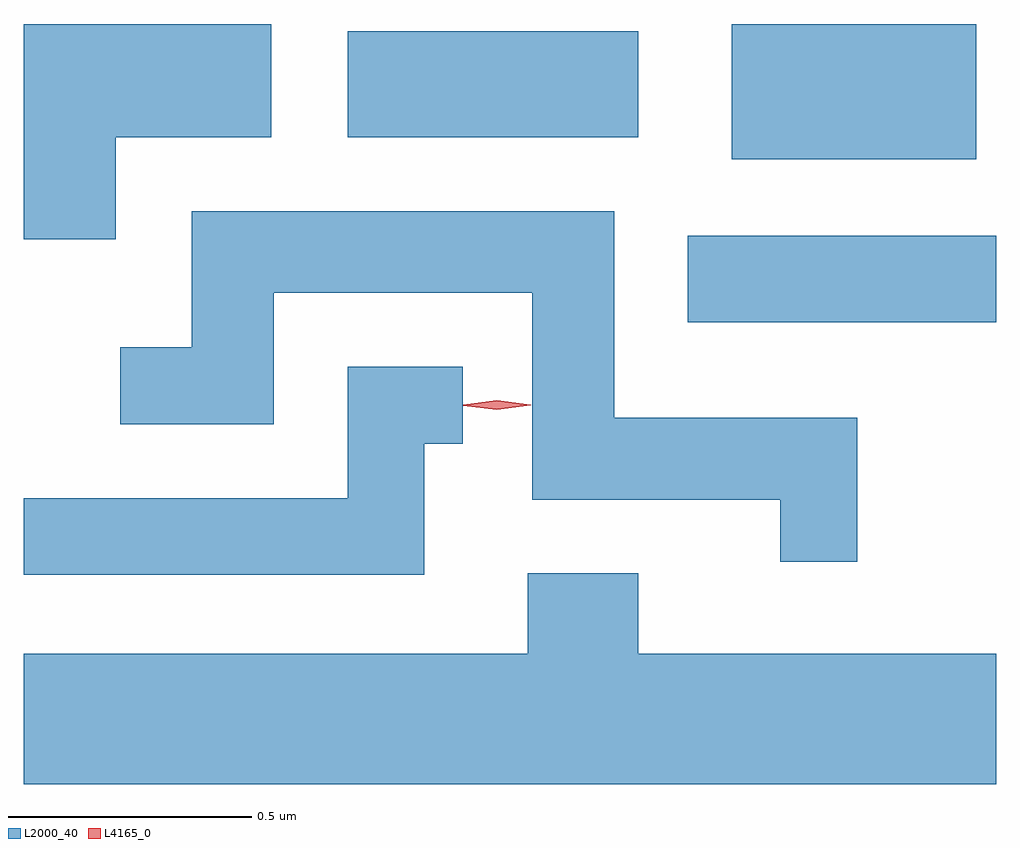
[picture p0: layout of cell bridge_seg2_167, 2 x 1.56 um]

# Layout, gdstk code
import gdstk
lib = gdstk.Library(unit=1e-6, precision=1e-09)
def R(c, l, rs):  # rectangles x0, y0, x1, y1
    for r in rs: c.add(gdstk.rectangle(r[:2], r[2:], *l))
def P(c, l, *ps):  # polygons
    for p in ps: c.add(gdstk.Polygon(p, *l))
L2000_40 = (2000, 40)
L4165_0 = (4165, 0)

bridge_seg2_167 = lib.new_cell('bridge_seg2_167')
R(bridge_seg2_167, L2000_40, [(685.541,1084.786,686.175,1084.964), (685.631,1085.121,686.134,1085.399), (684.841,1085.166,685.439,1085.384)])
P(bridge_seg2_167, L2000_40, [(684.364,1085.166),(684.684,1085.166),(684.684,1085.399),(684.175,1085.399),(684.175,1084.956),(684.364,1084.956)],
  [(685.889,1084.589),(685.389,1084.589),(685.389,1085.014),(684.521,1085.014),(684.521,1084.734),(684.373,1084.734),(684.373,1084.576),(684.689,1084.576),(684.689,1084.846),(685.221,1084.846),(685.221,1084.421),(685.731,1084.421),(685.731,1084.293),(685.889,1084.293)],
  [(684.999,1084.536),(685.078,1084.536),(685.078,1084.694),(684.841,1084.694),(684.841,1084.424),(684.175,1084.424),(684.175,1084.266),(684.999,1084.266)],
  [(686.175,1084.104),(685.439,1084.104),(685.439,1084.269),(685.211,1084.269),(685.211,1084.104),(684.175,1084.104),(684.175,1083.836),(686.175,1083.836)])
P(bridge_seg2_167, L4165_0, [(685.148,1084.606),(685.079,1084.614),(685.079,1084.615),(685.079,1084.616),(685.148,1084.625),(685.218,1084.616),(685.218,1084.616),(685.218,1084.615)])

lib.write_gds('bridge_seg2_167.gds')
